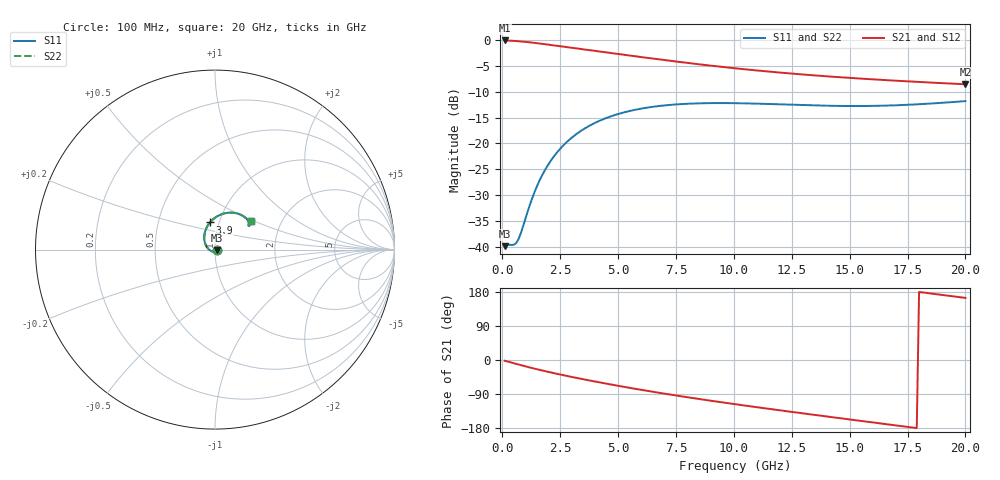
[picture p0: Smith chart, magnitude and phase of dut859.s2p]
! Touchstone file exported from HFSS 2024.1.0
!  File:  C:/UserFiles/LocalFiles/RDL_TSV_Batchsim/temp_RDL_TSV_859_1779924833.aedt
!  Generated:  07:47:01 AM May 28, 2026
!  Design:  RDL_TSV
!  Project:  temp_RDL_TSV_859_1779924833
!  Setup:  Setup1
!  Solution:  Sweep
! Variables:
!  dtsv = 12.41um
!  hbump = 3um
!  htsv = 60.44um
!  ldown = 510.32um
!  lrdl = 366.63um
!  p = 40
!  p1 = 49.48um
!  rhole = 10um
!  subl = 2997.48um
!  t = 450um
!  tdown = 4.66um
!  trdl = 4.04um
!  viad = 10um
!  wdown = 27.75um
!  wrdl = 25.36um
!  xbump = 18um
# GHz S MA R 50.000000
! Terminal data exported
! Port[1] = TM1_1_T1
! Port[2] = TM1_4_T1
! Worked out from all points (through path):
!   200 points, 100 MHz to 20 GHz, reference 50 ohm
!   highest |S21| = -0.09 dB at 100 MHz (marker M1); lowest = -8.6 dB at 20 GHz (marker M2)
!   group delay of S21, straight-line fit = 25.7 ps
!   lowest |S11| = -39.9 dB at 100 MHz (marker M3), VSWR 1.02, Z = 51 - j0.146 ohm
!   |S11| at or under -10 dB: start of sweep to end of sweep
!   |S22| runs from -39.9 to -11.8 dB; largest |S21 - S12| = 1.6e-14
!   S11 on the Smith chart (normalised r, x): 100 MHz: 1.02, -0.00; 3.9 GHz: 0.90, +0.28; 20 GHz: 1.40, +0.48
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0.1  0.01013 -8.1  0.9893 -1.8  0.9893 -1.8  0.01013 -8.1
! Gamma 0 0 0 0
! Port Impedance 50 0 50 0
0.5  0.01046 -65.4  0.9797 -8.6  0.9797 -8.6  0.01046 -65.4
0.6  0.01086 -84.3  0.9763 -10.3  0.9763 -10.3  0.01087 -84.2
0.7  0.01185 -103.0  0.9725 -12.0  0.9725 -12.0  0.01186 -103.0
0.8  0.01351 -120.3  0.9683 -13.6  0.9683 -13.6  0.01352 -120.3
1.2  0.02578 -167.2  0.9484 -19.9  0.9484 -19.9  0.02579 -167.2
1.4  0.03411 178.3  0.937 -23.0  0.937 -23.0  0.03413 178.4
1.7  0.0481 162.0  0.9191 -27.4  0.9191 -27.4  0.04812 162.0
2.1  0.06817 145.5  0.8945 -33.0  0.8945 -33.0  0.0682 145.5
2.7  0.09875 126.9  0.8581 -40.9  0.8581 -40.9  0.09881 126.9
3.5  0.1367 108.2  0.8117 -50.8  0.8117 -50.8  0.1368 108.2
3.9  0.1537 100.5  0.7896 -55.6  0.7896 -55.6  0.1538 100.6
4.5  0.1762 90.5  0.7576 -62.5  0.7576 -62.5  0.1763 90.5
5.2  0.1979 80.5  0.7219 -70.3  0.7219 -70.3  0.198 80.6
6.8  0.2302 62.9  0.6479 -86.8  0.6479 -86.8  0.2303 63.0
8.4  0.2436 50.6  0.5851 -102.0  0.5851 -102.0  0.2437 50.6
10.1  0.2447 41.8  0.5309 -117.0  0.5309 -117.0  0.2448 41.9
11.7  0.2395 37.0  0.4902 -130.4  0.4902 -130.4  0.2396 37.1
13.4  0.2329 34.8  0.4558 -144.2  0.4558 -144.2  0.233 34.9
15  0.2297 35.0  0.4299 -156.9  0.4299 -156.9  0.2299 35.1
16.7  0.2323 36.5  0.4073 -170.3  0.4073 -170.3  0.2325 36.6
20  0.2562 38.9  0.3729 163.8  0.3729 163.8  0.2566 39.1
